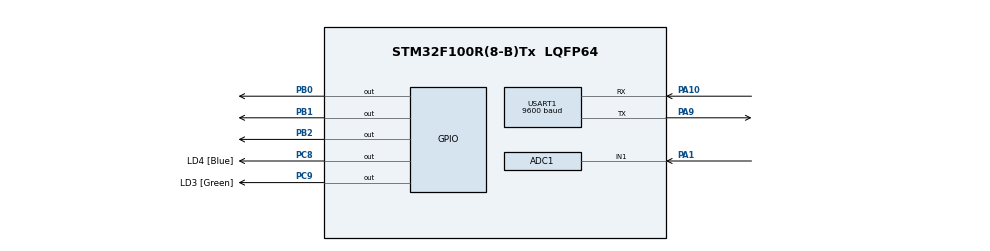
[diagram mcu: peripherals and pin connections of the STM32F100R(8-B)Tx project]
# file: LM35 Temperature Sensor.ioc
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ADC1.Channel-0\#ChannelRegularConversion=ADC_CHANNEL_1
ADC1.ContinuousConvMode=ENABLE
ADC1.NbrOfConversionFlag=1
ADC1.Rank-0\#ChannelRegularConversion=1
ADC1.SamplingTime-0\#ChannelRegularConversion=ADC_SAMPLETIME_55CYCLES_5
ADC1.master=1
Mcu.Family=STM32F1
Mcu.Name=STM32F100R(8-B)Tx
Mcu.Package=LQFP64
NVIC.PriorityGroup=NVIC_PRIORITYGROUP_4
PA0-WKUP.Mode=SYS_WakeUp0
PA0-WKUP.Signal=SYS_WKUP
PA1.Signal=ADCx_IN1
PA10.Mode=Asynchronous
PA10.Signal=USART1_RX
PA13.GPIO_Label=TMS_SWDIO
PA13.Mode=Serial_Wire
PA13.Signal=SYS_JTMS-SWDIO
PA14.GPIO_Label=TCK_SWCLK
PA14.Mode=Serial_Wire
PA14.Signal=SYS_JTCK-SWCLK
PA9.Mode=Asynchronous
PA9.Signal=USART1_TX
PB0.GPIO_Speed=GPIO_SPEED_FREQ_HIGH
PB0.Signal=GPIO_Output
PB1.GPIO_Speed=GPIO_SPEED_FREQ_HIGH
PB1.Signal=GPIO_Output
PB2.GPIO_Speed=GPIO_SPEED_FREQ_HIGH
PB2.Signal=GPIO_Output
PC14-OSC32_IN.Mode=LSE-External-Oscillator
PC14-OSC32_IN.Signal=RCC_OSC32_IN
PC15-OSC32_OUT.Mode=LSE-External-Oscillator
PC15-OSC32_OUT.Signal=RCC_OSC32_OUT
PC8.GPIO_Label=LD4 [Blue]
PC8.Signal=GPIO_Output
PC9.GPIO_Label=LD3 [Green]
PC9.Signal=GPIO_Output
PD0-OSC_IN.Mode=HSE-External-Oscillator
PD0-OSC_IN.Signal=RCC_OSC_IN
PD1-OSC_OUT.Mode=HSE-External-Oscillator
PD1-OSC_OUT.Signal=RCC_OSC_OUT
ProjectManager.HeapSize=0x200
ProjectManager.StackSize=0x400
ProjectManager.TargetToolchain=MDK-ARM V5.27
RCC.APB1Freq_Value=8000000
RCC.APB2Freq_Value=8000000
SH.ADCx_IN1.0=ADC1_IN1,IN1
USART1.BaudRate=9600
USART1.VirtualMode=VM_ASYNC
board=STM32VLDISCOVERY

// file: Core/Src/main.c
/* USER CODE BEGIN Header */
/**
  ******************************************************************************
  * @file           : main.c
  * @brief          : Main program body
  ******************************************************************************
  * @attention
  *
  * Copyright (c) 2022 STMicroelectronics.
  * All rights reserved.
  *
  * This software is licensed under terms that can be found in the LICENSE file
  * in the root directory of this software component.
  * If no LICENSE file comes with this software, it is provided AS-IS.
  *
  ******************************************************************************
  */
/* USER CODE END Header */
#include "main.h"

/* USER CODE BEGIN Includes */
#include <stdio.h>
/* USER CODE END Includes */

ADC_HandleTypeDef hadc1;

UART_HandleTypeDef huart1;

/* USER CODE BEGIN PV */
uint16_t adcValue=0;
char Message[30];
float temp=0.0;
/* USER CODE END PV */

void SystemClock_Config(void);
static void MX_GPIO_Init(void);
static void MX_ADC1_Init(void);
static void MX_USART1_UART_Init(void);

/* USER CODE BEGIN 0 */

float map(uint16_t adcValue,float adcMin,float adcMax,float tempMin,float tempMax){
	return ((tempMax-tempMin)/(adcMax-adcMin))*adcValue;
}

/* USER CODE END 0 */

int main(void)
{

  /* MCU Configuration--------------------------------------------------------*/

  /* Reset of all peripherals, Initializes the Flash interface and the Systick. */
  HAL_Init();

  /* Configure the system clock */
  SystemClock_Config();

  /* Initialize all configured peripherals */
  MX_GPIO_Init();
  MX_ADC1_Init();
  MX_USART1_UART_Init();
  /* USER CODE BEGIN 2 */
	HAL_GPIO_WritePin(GPIOB,GPIO_PIN_0,GPIO_PIN_RESET);
	HAL_GPIO_WritePin(GPIOB,GPIO_PIN_1,GPIO_PIN_RESET);
	HAL_GPIO_WritePin(GPIOB,GPIO_PIN_2,GPIO_PIN_SET);
  /* USER CODE END 2 */

  /* Infinite loop */
  while (1)
  {

    /* USER CODE BEGIN 3 */
		HAL_ADC_Start(&hadc1);
		HAL_ADC_PollForConversion(&hadc1,HAL_MAX_DELAY);
		adcValue=HAL_ADC_GetValue(&hadc1);
		HAL_ADC_Stop(&hadc1);

		temp=map(adcValue,1.0,1232.0,0.0,150.0);
	//	sprintf(Message,"LM35 Analog Veri: %d\r\n",adcValue);
		sprintf(Message,"TEMPERATURE: %d\r\n",(uint16_t)temp);
		HAL_UART_Transmit(&huart1,(uint8_t*)Message,sizeof(Message),HAL_MAX_DELAY);
		HAL_Delay(500);

		if(temp>=0 && temp<10){
			HAL_GPIO_WritePin(GPIOB,GPIO_PIN_0,GPIO_PIN_SET);
			HAL_GPIO_WritePin(GPIOB,GPIO_PIN_1,GPIO_PIN_RESET);
			HAL_GPIO_WritePin(GPIOB,GPIO_PIN_2,GPIO_PIN_RESET);
		}
		else if(temp>=10 && temp<25){
			HAL_GPIO_WritePin(GPIOB,GPIO_PIN_0,GPIO_PIN_RESET);
			HAL_GPIO_WritePin(GPIOB,GPIO_PIN_1,GPIO_PIN_SET);
			HAL_GPIO_WritePin(GPIOB,GPIO_PIN_2,GPIO_PIN_RESET);
		}
		else {
			HAL_GPIO_WritePin(GPIOB,GPIO_PIN_0,GPIO_PIN_RESET);
			HAL_GPIO_WritePin(GPIOB,GPIO_PIN_1,GPIO_PIN_RESET);
			HAL_GPIO_WritePin(GPIOB,GPIO_PIN_2,GPIO_PIN_SET);
		}
  }
  /* USER CODE END 3 */
}

void SystemClock_Config(void)
{
  RCC_OscInitTypeDef RCC_OscInitStruct = {0};
  RCC_ClkInitTypeDef RCC_ClkInitStruct = {0};
  RCC_PeriphCLKInitTypeDef PeriphClkInit = {0};

  /** Initializes the RCC Oscillators according to the specified parameters
  * in the RCC_OscInitTypeDef structure.
  */
  RCC_OscInitStruct.OscillatorType = RCC_OSCILLATORTYPE_HSI;
  RCC_OscInitStruct.HSIState = RCC_HSI_ON;
  RCC_OscInitStruct.HSICalibrationValue = RCC_HSICALIBRATION_DEFAULT;
  RCC_OscInitStruct.PLL.PLLState = RCC_PLL_NONE;
  if (HAL_RCC_OscConfig(&RCC_OscInitStruct) != HAL_OK)
  {
    Error_Handler();
  }
  /** Initializes the CPU, AHB and APB buses clocks
  */
  RCC_ClkInitStruct.ClockType = RCC_CLOCKTYPE_HCLK|RCC_CLOCKTYPE_SYSCLK
                              |RCC_CLOCKTYPE_PCLK1|RCC_CLOCKTYPE_PCLK2;
  RCC_ClkInitStruct.SYSCLKSource = RCC_SYSCLKSOURCE_HSI;
  RCC_ClkInitStruct.AHBCLKDivider = RCC_SYSCLK_DIV1;
  RCC_ClkInitStruct.APB1CLKDivider = RCC_HCLK_DIV1;
  RCC_ClkInitStruct.APB2CLKDivider = RCC_HCLK_DIV1;

  if (HAL_RCC_ClockConfig(&RCC_ClkInitStruct, FLASH_LATENCY_0) != HAL_OK)
  {
    Error_Handler();
  }
  PeriphClkInit.PeriphClockSelection = RCC_PERIPHCLK_ADC;
  PeriphClkInit.AdcClockSelection = RCC_ADCPCLK2_DIV2;
  if (HAL_RCCEx_PeriphCLKConfig(&PeriphClkInit) != HAL_OK)
  {
    Error_Handler();
  }
}

static void MX_ADC1_Init(void)
{

  ADC_ChannelConfTypeDef sConfig = {0};

  /** Common config
  */
  hadc1.Instance = ADC1;
  hadc1.Init.ScanConvMode = ADC_SCAN_DISABLE;
  hadc1.Init.ContinuousConvMode = ENABLE;
  hadc1.Init.DiscontinuousConvMode = DISABLE;
  hadc1.Init.ExternalTrigConv = ADC_SOFTWARE_START;
  hadc1.Init.DataAlign = ADC_DATAALIGN_RIGHT;
  hadc1.Init.NbrOfConversion = 1;
  if (HAL_ADC_Init(&hadc1) != HAL_OK)
  {
    Error_Handler();
  }
  /** Configure Regular Channel
  */
  sConfig.Channel = ADC_CHANNEL_1;
  sConfig.Rank = ADC_REGULAR_RANK_1;
  sConfig.SamplingTime = ADC_SAMPLETIME_55CYCLES_5;
  if (HAL_ADC_ConfigChannel(&hadc1, &sConfig) != HAL_OK)
  {
    Error_Handler();
  }

}

static void MX_USART1_UART_Init(void)
{

  huart1.Instance = USART1;
  huart1.Init.BaudRate = 9600;
  huart1.Init.WordLength = UART_WORDLENGTH_8B;
  huart1.Init.StopBits = UART_STOPBITS_1;
  huart1.Init.Parity = UART_PARITY_NONE;
  huart1.Init.Mode = UART_MODE_TX_RX;
  huart1.Init.HwFlowCtl = UART_HWCONTROL_NONE;
  huart1.Init.OverSampling = UART_OVERSAMPLING_16;
  if (HAL_UART_Init(&huart1) != HAL_OK)
  {
    Error_Handler();
  }

}

static void MX_GPIO_Init(void)
{
  GPIO_InitTypeDef GPIO_InitStruct = {0};

  /* GPIO Ports Clock Enable */
  __HAL_RCC_GPIOC_CLK_ENABLE();
  __HAL_RCC_GPIOD_CLK_ENABLE();
  __HAL_RCC_GPIOA_CLK_ENABLE();
  __HAL_RCC_GPIOB_CLK_ENABLE();

  /*Configure GPIO pin Output Level */
  HAL_GPIO_WritePin(GPIOB, GPIO_PIN_0|GPIO_PIN_1|GPIO_PIN_2, GPIO_PIN_RESET);

  /*Configure GPIO pin Output Level */
  HAL_GPIO_WritePin(GPIOC, LD4_Pin|LD3_Pin, GPIO_PIN_RESET);

  /*Configure GPIO pins : PB0 PB1 PB2 */
  GPIO_InitStruct.Pin = GPIO_PIN_0|GPIO_PIN_1|GPIO_PIN_2;
  GPIO_InitStruct.Mode = GPIO_MODE_OUTPUT_PP;
  GPIO_InitStruct.Pull = GPIO_NOPULL;
  GPIO_InitStruct.Speed = GPIO_SPEED_FREQ_HIGH;
  HAL_GPIO_Init(GPIOB, &GPIO_InitStruct);

  /*Configure GPIO pins : LD4_Pin LD3_Pin */
  GPIO_InitStruct.Pin = LD4_Pin|LD3_Pin;
  GPIO_InitStruct.Mode = GPIO_MODE_OUTPUT_PP;
  GPIO_InitStruct.Pull = GPIO_NOPULL;
  GPIO_InitStruct.Speed = GPIO_SPEED_FREQ_LOW;
  HAL_GPIO_Init(GPIOC, &GPIO_InitStruct);

}

void Error_Handler(void)
{
  __disable_irq();
  while (1)
  {
  }
}
